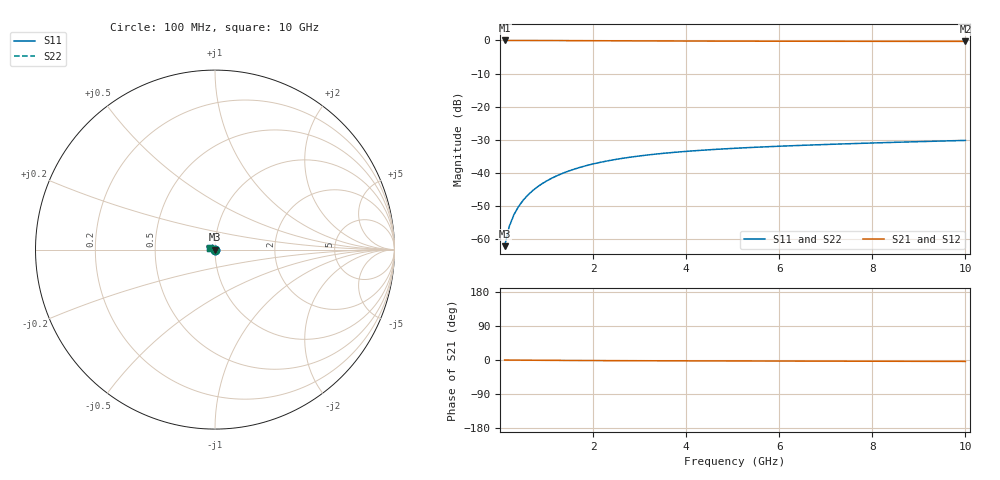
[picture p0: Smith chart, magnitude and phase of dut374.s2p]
! Touchstone file exported from HFSS 2024.1.0
!  File:  C:/UserFiles/LocalFiles/RDL_TSV_Batchsim/temp_TSV1_374_1779622246.aedt
!  Generated:  07:35:40 PM May 24, 2026
!  Design:  TSV1
!  Project:  temp_TSV1_374_1779622246
!  Setup:  Setup1
!  Solution:  Sweep
! Variables:
!  dtsv = 9.55um
!  hbump = 3um
!  htsv = 54.32um
!  lrdl = 252.1521522um
!  p = 40
!  p1 = 53.25um
!  t = 500um
!  trdl = 3um
!  wrdl = 24.89489489um
# GHz S MA R 50.000000
! Terminal data exported
! Port[1] = TSV22_T1
! Port[2] = TSV22_T2
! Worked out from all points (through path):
!   100 points, 100 MHz to 10 GHz, reference 50 ohm
!   highest |S21| = 0.00 dB at 100 MHz (marker M1); lowest = -0.3 dB at 10 GHz (marker M2)
!   lowest |S11| = -62.0 dB at 100 MHz (marker M3), VSWR 1.00, Z = 50 - j0.0784 ohm
!   |S11| at or under -10 dB: start of sweep to end of sweep
!   |S22| runs from -62.0 to -30.1 dB; largest |S21 - S12| = 4.3e-15
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0.1  0.0007904 -82.8  0.9998 -0.1  0.9998 -0.1  0.0007904 -82.8
! Gamma 0 0 0 0
! Port Impedance 50 0 50 0
0.2  0.001572 -89.2  0.9997 -0.2  0.9997 -0.2  0.001572 -89.2
0.3  0.002355 -92.8  0.9996 -0.3  0.9996 -0.3  0.002355 -92.8
0.4  0.003134 -95.6  0.9994 -0.4  0.9994 -0.4  0.003134 -95.6
0.5  0.003905 -98.2  0.9991 -0.4  0.9991 -0.4  0.003905 -98.2
0.6  0.004666 -100.5  0.9988 -0.5  0.9988 -0.5  0.004666 -100.5
0.7  0.005417 -102.8  0.9985 -0.6  0.9985 -0.6  0.005417 -102.8
0.8  0.006155 -104.9  0.9981 -0.7  0.9981 -0.7  0.006155 -104.9
0.9  0.006879 -107.0  0.9976 -0.8  0.9976 -0.8  0.006879 -107.0
1.1  0.008283 -111.1  0.9966 -0.9  0.9966 -0.9  0.008283 -111.1
1.4  0.01026 -116.8  0.995 -1.1  0.995 -1.1  0.01026 -116.8
1.6  0.01149 -120.4  0.9938 -1.3  0.9938 -1.3  0.01149 -120.4
1.8  0.01265 -123.9  0.9925 -1.4  0.9925 -1.4  0.01265 -123.9
2.1  0.01424 -128.9  0.9906 -1.5  0.9906 -1.5  0.01424 -128.9
2.5  0.01612 -135.0  0.9881 -1.7  0.9881 -1.7  0.01612 -135.0
2.9  0.01776 -140.6  0.9858 -1.9  0.9858 -1.9  0.01776 -140.6
3.4  0.0195 -147.0  0.9831 -2.1  0.9831 -2.1  0.0195 -147.0
4.2  0.02176 -155.9  0.9795 -2.3  0.9795 -2.3  0.02176 -155.9
5.1  0.02376 -164.3  0.9763 -2.5  0.9763 -2.5  0.02376 -164.3
6.7  0.02653 -176.6  0.9724 -2.9  0.9724 -2.9  0.02653 -176.6
8.4  0.02897 173.0  0.9697 -3.4  0.9697 -3.4  0.02897 173.0
10  0.0311 164.9  0.9679 -3.8  0.9679 -3.8  0.03111 164.9
